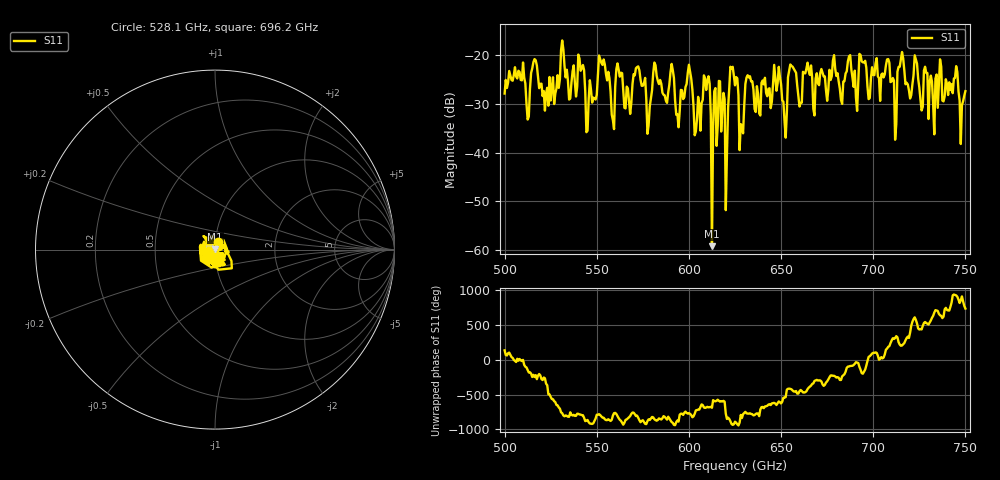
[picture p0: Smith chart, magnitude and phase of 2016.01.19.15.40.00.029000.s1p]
!Created with skrf (http://scikit-rf.org).
# GHz S RI R 50.0
!freq ReS11 ImS11
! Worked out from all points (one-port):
!   401 points, 500 GHz to 750 GHz, reference 50 ohm
!   lowest |S11| = -59.1 dB at 612.5 GHz (marker M1), VSWR 1.00, Z = 50.1 + j0.0561 ohm
!   |S11| at or under -10 dB: start of sweep to end of sweep
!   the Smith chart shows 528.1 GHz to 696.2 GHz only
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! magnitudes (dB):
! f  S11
! 500 GHz  -27.9
! 512.5 GHz  -33.2
! 516.2 GHz  -20.9
! 522.5 GHz  -27.8
! 531.2 GHz  -17.1
! 541.2 GHz  -23.3
! 545 GHz  -35.5
! 552.5 GHz  -21.7
! 558.8 GHz  -33.4
! 562.5 GHz  -24.5
! 578.1 GHz  -34.4
! 581.2 GHz  -21.6
! 590.6 GHz  -21.9
! 593.8 GHz  -32.2
! 609.4 GHz  -27.2
! 612.5 GHz  -59.1
! 617.5 GHz  -35.7
! 620.6 GHz  -40.3
! 625 GHz  -26.3
! 628.8 GHz  -34.4
! 631.9 GHz  -24.2
! 647.5 GHz  -27.4
! 651.9 GHz  -33.5
! 656.2 GHz  -22.4
! 660 GHz  -30.6
! 687.5 GHz  -20.1
! 718.8 GHz  -26.1
! 750 GHz  -27.4
